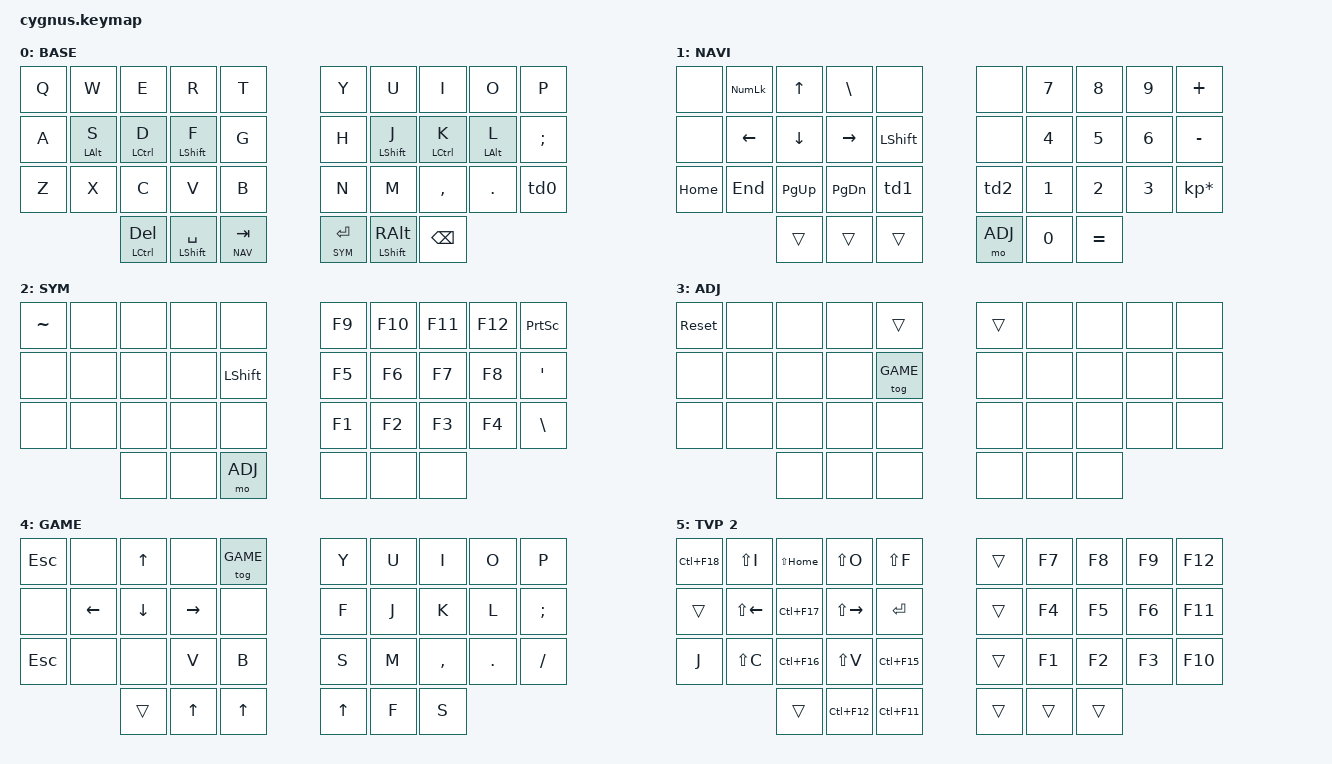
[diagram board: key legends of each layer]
/*
 * Copyright (c) 2020 The ZMK Contributors
 *
 * SPDX-License-Identifier: MIT
 */
#include <dt-bindings/zmk/mouse.h>
#include <behaviors.dtsi>
#include <dt-bindings/zmk/bt.h>
#include <dt-bindings/zmk/keys.h>
#include <dt-bindings/zmk/outputs.h>

#define BASE 0
#define NAV  1
#define SYM  2
#define ADJ  3
#define GAME 4
#define TVP2 5

#define COMBO(NAME, BINDINGS, KEYPOS) \
  combo_##NAME { \
    timeout-ms = <50>; \
    bindings = <BINDINGS>; \
    key-positions = <KEYPOS>; \
    layers = <0>; \
  };

&mt {
  quick-tap-ms = <100>;
  global-quick-tap;
  flavor = "tap-preferred";
  tapping-term-ms = <170>;
};

&lt {
    tapping-term-ms = <240>;
    flavor = "balanced";
    quick-tap-ms = <150>;
};

/{
        combos {
                compatible = "zmk,combos";
                                              
	        COMBO(ctrl+c, &kp LC(C), 21 22)
                COMBO(ctrl+v, &kp LC(V), 22 23)
                COMBO(ctrl+x, &kp LC(X), 20 21)
                COMBO(win, &kp LGUI, 20 31)
		COMBO(esc, &kp ESC, 00 31)
                COMBO(dcq, &kp LS(Q), 00 13)
                COMBO(dcw, &kp LS(W), 01 11)
                COMBO(dce, &kp LS(E), 02 12)
                COMBO(dcr, &kp LS(R), 03 13)
                COMBO(dct, &kp LS(T), 04 14)
		COMBO(dct2, &kp LS(T), 04 31)
    };

        behaviors {
        hm: homerow_mods {
            compatible = "zmk,behavior-hold-tap";
            label = "HOMEROW_MODS";
            #binding-cells = <2>;
            flavor = "tap-preferred";
            tapping-term-ms = <170>;
            quick-tap-ms = <125>;
            global-quick-tap;
            bindings =
                <&kp>,
                <&kp>;
        };
    };
	
	behaviors {
        td0: tap_dance_0 {
        compatible = "zmk,behavior-tap-dance";
        #binding-cells = <0>;
        tapping-term-ms = <200>;
        bindings = <&kp FSLH>, <&kp QMARK>;
    };
};

behaviors {
        td1: tap_dance_1 {
        compatible = "zmk,behavior-tap-dance";
        #binding-cells = <0>;
        tapping-term-ms = <200>;
        bindings = <&kp LPAR>, <&kp LBKT>, <&kp LBRC>;
    };
};


behaviors {
        td2: tap_dance_2 {
        compatible = "zmk,behavior-tap-dance";
        #binding-cells = <0>;
        tapping-term-ms = <200>;
        bindings = <&kp RPAR>, <&kp RBKT>, <&kp RBRC>;
    };
};


    macros {
       
    };

        keymap {
                compatible = "zmk,keymap";
// ▄▄▄▄▄▄▄▄▄▄▄▄▄▄▄▄▄▄▄▄▄▄▄▄▄▄▄▄▄▄▄▄▄▄▄▄▄▄▄▄▄▄▄▄▄▄▄▄▄▄▄▄▄▄▄▄▄▄▄▄▄▄▄▄▄▄▄▄▄▄▄▄▄▄▄▄▄▄▄▄▄▄▄▄▄▄▄▄▄▄▄▄▄▄▄▄▄▄▄▄▄▄▄▄▄▄▄▄▄▄▄▄▄▄▄▄▄▄▄▄▄▄▄▄▄▄▄▄▄▄▄▄▄▄▄▄▄▄▄▄▄▄▄▄▄▄▄▄▄

                base_layer {
// ┏━━━━━━━━━━━━━━━━━━━━━━━━━━━━━━━━━━━━━━━┓
label= "BASE"                              ;
// ┗━━━━━━━━━━━━━━━━━━━━━━━━━━━━━━━━━━━━━━━┛
// ┏━━━━━━━┳━━━━━━━┳━━━━ ━━┳━━━━━━┳━━━━━━━┓   ┏━━━━━━┳━━━━━━━┳━━━━━━┳━━━━━━━┳━━━━━━━┓
// ┃     Q     ┃     W     ┃     E     ┃     R     ┃     T     ┃   ┃     Y     ┃     U     ┃     I     ┃     O     ┃     P     ┃
// ┣━━━━━━━╋━━━━━━━╋━━━━━━╋━━━━━━━╋━━━━━━┫   ┣━━━━━━━╋━━━━━━━╋━━━━━━╋━━━━━━╋━━━━━━━╋
// ┃     A     ┃     S      ┃     D     ┃     F     ┃     G     ┃   ┃     H     ┃     J     ┃     K     ┃     L     ┃     ;     ┃
// ┏━━━━━━━╋━━━━━━╋━━━━━━━╋━━━━━━━╋━━━━━━┫   ┣━━━━━━━╋━━━━━━━╋━━━━━━╋━━━━━━╋━━━━━━┓
// ┃     Z     ┃     X     ┃     C     ┃     V     ┃     B     ┃   ┃     N     ┃     M     ┃     ,     ┃     .     ┃     /     ┃ 
// ┗━━━━━━┻━━━━━━━┻━━━━━━━╋━━━━━━╋━━━━━━━┫   ┣━━━━━━━╋━━━━━━━╋━━━━━╋━━━━━━┻━━━━━━━┛
//                        ┃    DEL    ┃    TAB    ┃    SPC    ┃   ┃   ENTER   ┃    RALT   ┃   BSPC    ┃
//                        ┗━━━━━━━┻━━━━━━━┻━━━━━━━━┛   ┗━━━━━━━━┻━━━━━━━━┻━━━━━━━━┛
 bindings = <
// ╷           ╷           ╷           ╷           ╷           ╷           ╷   ╷           ╷           ╷           ╷           ╷           ╷           ╷

   &kp Q       &kp W         &kp E            &kp R           &kp T           &kp Y       &kp U            &kp I             &kp O       &kp P
   &kp A       &hm LALT S  &hm LCTRL D &hm LSHFT F &kp G           &kp H      &hm LSHFT J   &hm LCTRL K  &hm LALT L  &kp SEMI
   &kp Z       &kp X          &kp C           &kp V           &kp B           &kp N       &kp M           &kp COMMA  &kp DOT     &td0    
              &mt LCTRL DEL    &mt LSHFT SPACE   &lt NAV TAB           &lt SYM RET  &mt LSHFT RALT  &kp BSPC
                        >;
                };

// ▄▄▄▄▄▄▄▄▄▄▄▄▄▄▄▄▄▄▄▄▄▄▄▄▄▄▄▄▄▄▄▄▄▄▄▄▄▄▄▄▄▄▄▄▄▄▄▄▄▄▄▄▄▄▄▄▄▄▄▄▄▄▄▄▄▄▄▄▄▄▄▄▄▄▄▄▄▄▄▄▄▄▄▄▄▄▄▄▄▄▄▄▄▄▄▄▄▄▄▄▄▄▄▄▄▄▄▄▄▄▄▄▄▄▄▄▄▄▄▄▄▄▄▄▄▄▄▄▄▄▄▄▄▄▄▄▄▄▄▄▄▄▄▄▄▄▄▄▄


                nav_layer {
// ┏━━━━━━━━━━━━━━━━━━━━━━━━━━━━━━━━━━━━━━━┓
label= "NAVI"                              ;
// ┗━━━━━━━━━━━━━━━━━━━━━━━━━━━━━━━━━━━━━━━┛
//             ┏━━━━━━━━━━━┳━━━━━━━━━━━┳━━━━━━━━━━━┳━━━━━━━━━━━┳━━━━━━━━━━━┓   ┏━━━━━━━━━━━┳━━━━━━━━━━━┳━━━━━━━━━━━┳━━━━━━━━━━━┳━━━━━━━━━━━┓
//             ┃ caps lock ┃    NUM    ┃     UP    ┃   BSLH    ┃     {     ┃   ┃     }     ┃     7     ┃     8     ┃     9     ┃     +     ┃
//             ┣━━━━━━━━━━━╋━━━━━━━━━━━╋━━━━━━━━━━━╋━━━━━━━━━━━╋━━━━━━━━━━━┫   ┣━━━━━━━━━━━╋━━━━━━━━━━━╋━━━━━━━━━━━╋━━━━━━━━━━━╋━━━━━━━━━━━┫
//             ┃    snap   ┃   LEFT    ┃    DOWN   ┃   RIGHT   ┃     [     ┃   ┃     ]     ┃     4     ┃     5     ┃     6     ┃     -     ┃
// ┏━━━━━━━━━━━╋━━━━━━━━━━━╋━━━━━━━━━━━╋━━━━━━━━━━━╋━━━━━━━━━━━╋━━━━━━━━━━━┫   ┣━━━━━━━━━━━╋━━━━━━━━━━━╋━━━━━━━━━━━╋━━━━━━━━━━━╋━━━━━━━━━━━╋━━━━━━━━━━━┓
// ┃    ESC    ┃    HOME   ┃    END    ┃   PG UP   ┃  PG DOWN  ┃     (     ┃   ┃     )     ┃     1     ┃     2     ┃     3     ┃     *     ┃           ┃
// ┗━━━━━━━━━━━┻━━━━━━━━━━━┻━━━━━━━━━━━╋━━━━━━━━━━━╋━━━━━━━━━━━╋━━━━━━━━━━━┫   ┣━━━━━━━━━━━╋━━━━━━━━━━━╋━━━━━━━━━━━╋━━━━━━━━━━━┻━━━━━━━━━━━┻━━━━━━━━━━━┛
//                                     ┃    DEL    ┃    TAB    ┃    SPC    ┃   ┃    ADJ    ┃     0     ┃     =     ┃
//                                     ┗━━━━━━━━━━━┻━━━━━━━━━━━┻━━━━━━━━━━━┛   ┗━━━━━━━━━━━┻━━━━━━━━━━━┻━━━━━━━━━━━┛
 bindings = <
// ╷           ╷           ╷           ╷           ╷           ╷           ╷   ╷           ╷           ╷           ╷           ╷           ╷           ╷

    &none   &kp KP_NLCK  &kp UP      &kp BSLH    &none           &none    &kp N7   &kp N8   &kp N9   &kp PLUS
    &none   &kp LEFT     &kp DOWN    &kp RIGHT   &kp LSHFT       &none    &kp N4   &kp N5   &kp N6   &kp MINUS
    &kp HOME    &kp END      &kp PG_UP   &kp PG_DN   &td1        &td2     &kp N1   &kp N2   &kp N3   &kp KP_MULTIPLY
                                         &trans      &trans      &trans   &mo ADJ  &kp N0   &kp EQUAL     
                        >;
                };

// ▄▄▄▄▄▄▄▄▄▄▄▄▄▄▄▄▄▄▄▄▄▄▄▄▄▄▄▄▄▄▄▄▄▄▄▄▄▄▄▄▄▄▄▄▄▄▄▄▄▄▄▄▄▄▄▄▄▄▄▄▄▄▄▄▄▄▄▄▄▄▄▄▄▄▄▄▄▄▄▄▄▄▄▄▄▄▄▄▄▄▄▄▄▄▄▄▄▄▄▄▄▄▄▄▄▄▄▄▄▄▄▄▄▄▄▄▄▄▄▄▄▄▄▄▄▄▄▄▄▄▄▄▄▄▄▄▄▄▄▄▄▄▄▄▄▄▄▄▄


                sim_layer {
// ┏━━━━━━━━━━━━━━━━━━━━━━━━━━━━━━━━━━━━━━━┓
label= "SYM"                               ;
// ┗━━━━━━━━━━━━━━━━━━━━━━━━━━━━━━━━━━━━━━━┛
//             ┏━━━━━━━━━━━┳━━━━━━━━━━━┳━━━━━━━━━━━┳━━━━━━━━━━━┳━━━━━━━━━━━┓   ┏━━━━━━━━━━━┳━━━━━━━━━━━┳━━━━━━━━━━━┳━━━━━━━━━━━┳━━━━━━━━━━━┓
//             ┃           ┃           ┃     #     ┃     $     ┃     %     ┃   ┃     ˆ     ┃     &     ┃     *     ┃     '     ┃     "     ┃
//             ┣━━━━━━━━━━━╋━━━━━━━━━━━╋━━━━━━━━━━━╋━━━━━━━━━━━╋━━━━━━━━━━━┫   ┣━━━━━━━━━━━╋━━━━━━━━━━━╋━━━━━━━━━━━╋━━━━━━━━━━━╋━━━━━━━━━━━┫
//             ┃           ┃           ┃           ┃           ┃           ┃   ┃           ┃           ┃           ┃           ┃           ┃ 
// ┏━━━━━━━━━━━╋━━━━━━━━━━━╋━━━━━━━━━━━╋━━━━━━━━━━━╋━━━━━━━━━━━╋━━━━━━━━━━━┫   ┣━━━━━━━━━━━╋━━━━━━━━━━━╋━━━━━━━━━━━╋━━━━━━━━━━━╋━━━━━━━━━━━╋━━━━━━━━━━━┓
// ┃           ┃           ┃           ┃           ┃           ┃           ┃   ┃           ┃           ┃           ┃           ┃           ┃     \     ┃       
// ┗━━━━━━━━━━━┻━━━━━━━━━━━┻━━━━━━━━━━━╋━━━━━━━━━━━╋━━━━━━━━━━━╋━━━━━━━━━━━┫   ┣━━━━━━━━━━━╋━━━━━━━━━━━╋━━━━━━━━━━━╋━━━━━━━━━━━┻━━━━━━━━━━━┻━━━━━━━━━━━┛
//                                     ┃           ┃           ┃    ADJ    ┃   ┃           ┃           ┃           ┃
//                                     ┗━━━━━━━━━━━┻━━━━━━━━━━━┻━━━━━━━━━━━┛   ┗━━━━━━━━━━━┻━━━━━━━━━━━┻━━━━━━━━━━━┛
 bindings = <
// ╷           ╷           ╷           ╷           ╷           ╷           ╷   ╷           ╷           ╷           ╷           ╷           ╷           ╷

      &kp TILDE   &none       &none       &none       &none             &kp F9      &kp F10    &kp F11     &kp F12       &kp PSCRN       
      &none       &none       &none       &none       &kp LSHFT        &kp F5      &kp F6      &kp F7      &kp F8       &kp APOSTROPHE
      &none       &none       &none       &none       &none             &kp F1      &kp F2      &kp F3       &kp F4       &kp BSLH    
                                        &none     &none        &mo ADJ         &none       &none      &none     
                        >;
                };

// ▄▄▄▄▄▄▄▄▄▄▄▄▄▄▄▄▄▄▄▄▄▄▄▄▄▄▄▄▄▄▄▄▄▄▄▄▄▄▄▄▄▄▄▄▄▄▄▄▄▄▄▄▄▄▄▄▄▄▄▄▄▄▄▄▄▄▄▄▄▄▄▄▄▄▄▄▄▄▄▄▄▄▄▄▄▄▄▄▄▄▄▄▄▄▄▄▄▄▄▄▄▄▄▄▄▄▄▄▄▄▄▄▄▄▄▄▄▄▄▄▄▄▄▄▄▄▄▄▄▄▄▄▄▄▄▄▄▄▄▄▄▄▄▄▄▄▄▄▄


                adjust_layer {
// ┏━━━━━━━━━━━━━━━━━━━━━━━━━━━━━━━━━━━━━━━┓
label= "ADJ"                               ;
// ┗━━━━━━━━━━━━━━━━━━━━━━━━━━━━━━━━━━━━━━━┛
//             ┏━━━━━━━━━━━┳━━━━━━━━━━━┳━━━━━━━━━━━┳━━━━━━━━━━━┳━━━━━━━━━━━┓   ┏━━━━━━━━━━━┳━━━━━━━━━━━┳━━━━━━━━━━━┳━━━━━━━━━━━┳━━━━━━━━━━━┓
//             ┃   RESET   ┃  BT CLEAR ┃  OUT TOG  ┃           ┃           ┃   ┃           ┃     F7    ┃    F8     ┃    F9     ┃    F12    ┃
//             ┣━━━━━━━━━━━╋━━━━━━━━━━━╋━━━━━━━━━━━╋━━━━━━━━━━━╋━━━━━━━━━━━┫   ┣━━━━━━━━━━━╋━━━━━━━━━━━╋━━━━━━━━━━━╋━━━━━━━━━━━╋━━━━━━━━━━━┫
//             ┃ BOOTLOAD  ┃  BT NEXT  ┃           ┃           ┃    GAME   ┃   ┃           ┃     F4    ┃    F5     ┃    F6     ┃    F11    ┃
// ┏━━━━━━━━━━━╋━━━━━━━━━━━╋━━━━━━━━━━━╋━━━━━━━━━━━╋━━━━━━━━━━━╋━━━━━━━━━━━┫   ┣━━━━━━━━━━━╋━━━━━━━━━━ ╋━━━━━━━━━━━╋━━━━━━━━━━━╋━━━━━━━━━━━╋━━━━━━━━━━━┓
// ┃           ┃           ┃  BT PREV  ┃           ┃           ┃           ┃   ┃           ┃     F1    ┃    F2     ┃    F3     ┃    F10    ┃    SNAP   ┃
// ┗━━━━━━━━━━━┻━━━━━━━━━━━┻━━━━━━━━━━━╋━━━━━━━━━━━╋━━━━━━━━━━━╋━━━━━━━━━━━┫   ┣━━━━━━━━━━━╋━━━━━━━━━━━╋━━━━━━━━━━━╋━━━━━━━━━━━┻━━━━━━━━━━━┻━━━━━━━━━━━┛
//                                     ┃           ┃           ┃           ┃   ┃           ┃           ┃           ┃
//                                     ┗━━━━━━━━━━━┻━━━━━━━━━━━┻━━━━━━━━━━━┛   ┗━━━━━━━━━━━┻━━━━━━━━━━━┻━━━━━━━━━━━┛
 bindings = <
// ╷           ╷           ╷           ╷           ╷           ╷           ╷   ╷           ╷           ╷           ╷           ╷           ╷           ╷

    &sys_reset   &none    &none    &none      &trans             &trans      &none     &none      &none     &none
    &none       &none    &none    &none      &tog GAME      &none     &none     &none      &none     &none  
   &none        &none    &none    &none      &none             &none     &none     &none      &none     &none         
                                &none      &none      &none             &none      &none      &none   
                        >;
                };

// ▄▄▄▄▄▄▄▄▄▄▄▄▄▄▄▄▄▄▄▄▄▄▄▄▄▄▄▄▄▄▄▄▄▄▄▄▄▄▄▄▄▄▄▄▄▄▄▄▄▄▄▄▄▄▄▄▄▄▄▄▄▄▄▄▄▄▄▄▄▄▄▄▄▄▄▄▄▄▄▄▄▄▄▄▄▄▄▄▄▄▄▄▄▄▄▄▄▄▄▄▄▄▄▄▄▄▄▄▄▄▄▄▄▄▄▄▄▄▄▄▄▄▄▄▄▄▄▄▄▄▄▄▄▄▄▄▄▄▄▄▄▄▄▄▄▄▄▄▄


                game_layer {
// ┏━━━━━━━━━━━━━━━━━━━━━━━━━━━━━━━━━━━━━━━┓
label= "GAME"                             ;
// ┗━━━━━━━━━━━━━━━━━━━━━━━━━━━━━━━━━━━━━━━┛
//             ┏━━━━━━━━━━━┳━━━━━━━━━━━┳━━━━━━━━━━━┳━━━━━━━━━━━┳━━━━━━━━━━━┓   ┏━━━━━━━━━━━┳━━━━━━━━━━━┳━━━━━━━━━━━┳━━━━━━━━━━━┳━━━━━━━━━━━┓
//             ┃    ESC    ┃           ┃     UP    ┃           ┃           ┃   ┃     Y     ┃     U     ┃     I     ┃     O     ┃     P     ┃
//             ┣━━━━━━━━━━━╋━━━━━━━━━━━╋━━━━━━━━━━━╋━━━━━━━━━━━╋━━━━━━━━━━━┫   ┣━━━━━━━━━━━╋━━━━━━━━━━━╋━━━━━━━━━━━╋━━━━━━━━━━━╋━━━━━━━━━━━┫
//             ┃           ┃   LEFT    ┃    DOWN   ┃   RIGHT   ┃           ┃   ┃     H     ┃     J     ┃     K     ┃     L     ┃     ;     ┃
// ┏━━━━━━━━━━━╋━━━━━━━━━━━╋━━━━━━━━━━━╋━━━━━━━━━━━╋━━━━━━━━━━━╋━━━━━━━━━━━┫   ┣━━━━━━━━━━━╋━━━━━━━━━━━╋━━━━━━━━━━━╋━━━━━━━━━━━╋━━━━━━━━━━━╋━━━━━━━━━━━┓
// ┃  OFF GAME ┃    ESC    ┃           ┃           ┃           ┃           ┃   ┃     N     ┃     M     ┃     ,     ┃     .     ┃     /     ┃   SHIFT   ┃
// ┗━━━━━━━━━━━┻━━━━━━━━━━━┻━━━━━━━━━━━╋━━━━━━━━━━━╋━━━━━━━━━━━╋━━━━━━━━━━━┫   ┣━━━━━━━━━━━╋━━━━━━━━━━━╋━━━━━━━━━━━╋━━━━━━━━━━━┻━━━━━━━━━━━┻━━━━━━━━━━━┛
//                                     ┃           ┃   ENTER   ┃     UP    ┃   ┃     UP    ┃     V     ┃     B     ┃
//                                     ┗━━━━━━━━━━━┻━━━━━━━━━━━┻━━━━━━━━━━━┛   ┗━━━━━━━━━━━┻━━━━━━━━━━━┻━━━━━━━━━━━┛
 bindings = <
// ╷           ╷           ╷           ╷           ╷           ╷           ╷   ╷           ╷           ╷           ╷           ╷           ╷           ╷

   &kp ESC     &none       &kp UP      &none     &tog GAME       &kp Y       &kp U       &kp I       &kp O       &kp P
   &none       &kp LEFT    &kp DOWN    &kp RIGHT   &none       &kp F       &kp J       &kp K       &kp L       &kp SEMI
   &kp ESC     &none       &none       &kp V       &kp B              &kp S       &kp M       &kp COMMA   &kp DOT     &kp FSLH
                                        &trans      &kp UP     &kp UP          &kp UP      &kp F       &kp S
                        >;
                };

// ▄▄▄▄▄▄▄▄▄▄▄▄▄▄▄▄▄▄▄▄▄▄▄▄▄▄▄▄▄▄▄▄▄▄▄▄▄▄▄▄▄▄▄▄▄▄▄▄▄▄▄▄▄▄▄▄▄▄▄▄▄▄▄▄▄▄▄▄▄▄▄▄▄▄▄▄▄▄▄▄▄▄▄▄▄▄▄▄▄▄▄▄▄▄▄▄▄▄▄▄▄▄▄▄▄▄▄▄▄▄▄▄▄▄▄▄▄▄▄▄▄▄▄▄▄▄▄▄▄▄▄▄▄▄▄▄▄▄▄▄▄▄▄▄▄▄▄▄▄


                tvp2_layer {
// ┏━━━━━━━━━━━━━━━━━━━━━━━━━━━━━━━━━━━━━━━┓
label= "TVP 2"                             ;
// ┗━━━━━━━━━━━━━━━━━━━━━━━━━━━━━━━━━━━━━━━┛
//             ┏━━━━━━━━━━━┳━━━━━━━━━━━┳━━━━━━━━━━━┳━━━━━━━━━━━┳━━━━━━━━━━━┓   ┏━━━━━━━━━━━┳━━━━━━━━━━━┳━━━━━━━━━━━┳━━━━━━━━━━━┳━━━━━━━━━━━┓
//             ┃ SOLO      ┃ TOGGLE IN ┃ RESET ROT ┃ TOGGLE OUT┃ TAKE SNAP ┃   ┃           ┃           ┃           ┃           ┃           ┃
//             ┣━━━━━━━━━━━╋━━━━━━━━━━━╋━━━━━━━━━━━╋━━━━━━━━━━━╋━━━━━━━━━━━┫   ┣━━━━━━━━━━━╋━━━━━━━━━━━╋━━━━━━━━━━━╋━━━━━━━━━━━╋━━━━━━━━━━━┫
//             ┃ ---       ┃ LAST KEY  ┃ NEW KEY   ┃ NEXT KEY  ┃ ENTER     ┃   ┃           ┃           ┃           ┃           ┃           ┃
// ┏━━━━━━━━━━━╋━━━━━━━━━━━╋━━━━━━━━━━━╋━━━━━━━━━━━╋━━━━━━━━━━━╋━━━━━━━━━━━┫   ┣━━━━━━━━━━━╋━━━━━━━━━━━╋━━━━━━━━━━━╋━━━━━━━━━━━╋━━━━━━━━━━━╋━━━━━━━━━━━┓
// ┃           ┃ FULLSCR   ┃ CPY2BRUSH ┃ DEL HEAD  ┃ PSTinPLACE┃ BOOK MARK ┃   ┃           ┃           ┃           ┃           ┃           ┃           ┃
// ┗━━━━━━━━━━━┻━━━━━━━━━━━┻━━━━━━━━━━━╋━━━━━━━━━━━╋━━━━━━━━━━━╋━━━━━━━━━━━┫   ┣━━━━━━━━━━━╋━━━━━━━━━━━╋━━━━━━━━━━━╋━━━━━━━━━━━┻━━━━━━━━━━━┻━━━━━━━━━━━┛
//                                     ┃           ┃ REDO/SAV1 ┃TRANS/WARP ┃   ┃           ┃           ┃           ┃
//                                     ┗━━━━━━━━━━━┻━━━━━━━━━━━┻━━━━━━━━━━━┛   ┗━━━━━━━━━━━┻━━━━━━━━━━━┻━━━━━━━━━━━┛
 bindings = <
// ╷           ╷           ╷           ╷           ╷           ╷           ╷   ╷           ╷           ╷           ╷           ╷           ╷           ╷

    &kp LC(F18) &kp LS(I)  &kp LS(HOME) &kp LS(O)   &kp LS(F)       &trans      &kp F7      &kp F8      &kp F9      &kp F12
    &trans      &kp LS(LEFT) &kp LC(F17) &kp LS(RIGHT) &kp RET      &trans      &kp F4      &kp F5      &kp F6      &kp F11  
    &kp J       &kp LS(C)   &kp LC(F16) &kp LS(V)   &kp LC(F15)       &trans      &kp F1      &kp F2      &kp F3      &kp F10    
                                        &trans      &kp LC(F12) &kp LC(F11)     &trans      &trans      &trans      
                        >;
                };
        };
};
